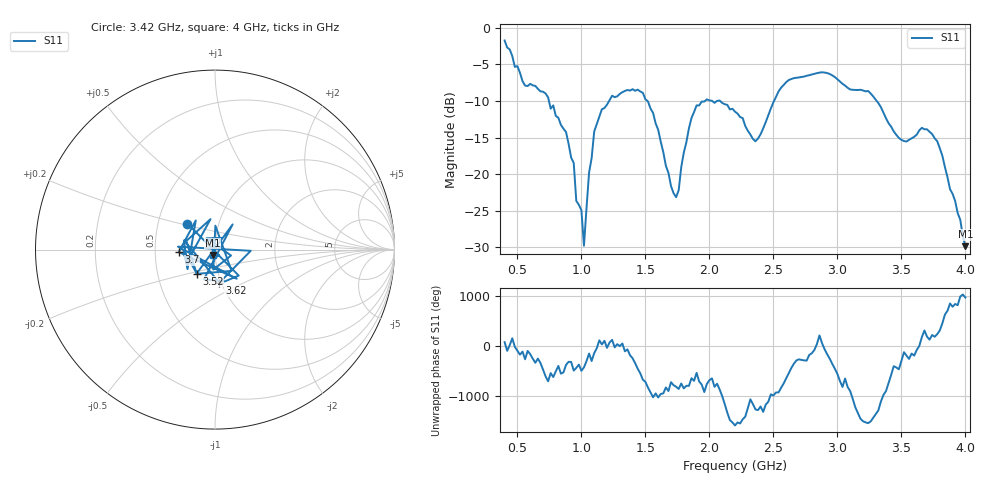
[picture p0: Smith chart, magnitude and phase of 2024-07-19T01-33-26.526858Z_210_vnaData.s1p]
!Created with skrf (http://scikit-rf.org).
# Hz S RI R 50.0
!freq ReS11 ImS11
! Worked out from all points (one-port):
!   181 points, 400 MHz to 4 GHz, reference 50 ohm
!   lowest |S11| = -29.8 dB at 4 GHz (marker M1), VSWR 1.07, Z = 48.6 - j2.85 ohm
!   |S11| at or under -10 dB: 746.3 MHz to 1.217 GHz (470.8 MHz wide, 48 % of centre); 1.515 GHz to 1.966 GHz (450.6 MHz wide, 25.9 % of centre); 3.306 GHz to end of sweep (the widest 3 of 5)
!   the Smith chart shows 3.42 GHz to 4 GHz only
!   S11 on the Smith chart (normalised r, x): 3.42 GHz: 0.71, +0.21; 3.52 GHz: 0.79, -0.22; 3.62 GHz: 0.98, -0.37; 3.7 GHz: 0.66, -0.02; 4 GHz: 0.97, -0.06
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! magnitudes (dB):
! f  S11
! 400 MHz  -1.7
! 560 MHz  -7.9
! 720 MHz  -9.0
! 860 MHz  -13.8
! 940 MHz  -18.5
! 960 MHz  -23.6
! 1 GHz  -24.9
! 1.02 GHz  -29.8
! 1.06 GHz  -19.8
! 1.1 GHz  -14.2
! 1.3 GHz  -9.0
! 1.48 GHz  -8.9
! 1.72 GHz  -22.6
! 1.76 GHz  -22.2
! 1.8 GHz  -17.1
! 1.9 GHz  -10.6
! 2.2 GHz  -11.5
! 2.36 GHz  -15.5
! 2.66 GHz  -6.9
! 3.1 GHz  -8.4
! 3.24 GHz  -8.6
! 3.42 GHz  -13.5
! 3.52 GHz  -15.5
! 3.56 GHz  -15.3
! 3.62 GHz  -14.6
! 3.7 GHz  -13.9
! 3.82 GHz  -17.5
! 4 GHz  -29.8
